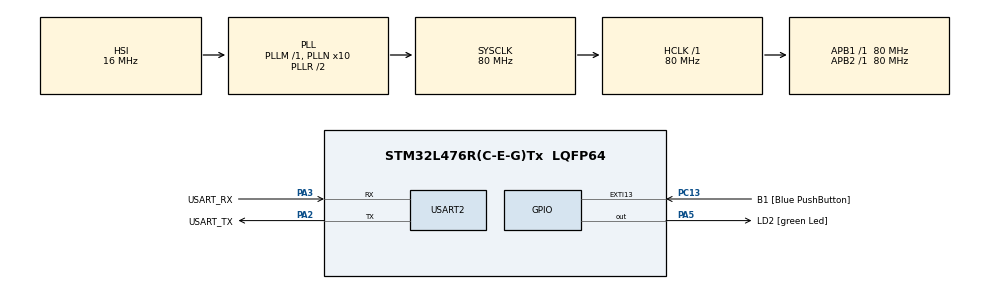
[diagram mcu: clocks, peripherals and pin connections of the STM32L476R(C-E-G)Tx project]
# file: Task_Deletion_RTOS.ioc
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FREERTOS.Tasks01=defaultTask,0,128,StartDefaultTask,Default,NULL,Dynamic,NULL,NULL
Mcu.Family=STM32L4
Mcu.Name=STM32L476R(C-E-G)Tx
Mcu.Package=LQFP64
NVIC.PriorityGroup=NVIC_PRIORITYGROUP_4
PA13\ (JTMS-SWDIO).GPIO_Label=TMS
PA13\ (JTMS-SWDIO).Mode=Serial_Wire
PA13\ (JTMS-SWDIO).Signal=SYS_JTMS-SWDIO
PA14\ (JTCK-SWCLK).GPIO_Label=TCK
PA14\ (JTCK-SWCLK).Mode=Serial_Wire
PA14\ (JTCK-SWCLK).Signal=SYS_JTCK-SWCLK
PA2.GPIO_Label=USART_TX
PA2.GPIO_Mode=GPIO_MODE_AF_PP
PA2.GPIO_PuPd=GPIO_NOPULL
PA2.GPIO_Speed=GPIO_SPEED_FREQ_VERY_HIGH
PA2.Mode=Asynchronous
PA2.Signal=USART2_TX
PA3.GPIO_Label=USART_RX
PA3.GPIO_Mode=GPIO_MODE_AF_PP
PA3.GPIO_PuPd=GPIO_NOPULL
PA3.GPIO_Speed=GPIO_SPEED_FREQ_VERY_HIGH
PA3.Mode=Asynchronous
PA3.Signal=USART2_RX
PA5.GPIO_Label=LD2 [green Led]
PA5.GPIO_ModeDefaultOutputPP=GPIO_MODE_OUTPUT_PP
PA5.GPIO_PuPd=GPIO_NOPULL
PA5.GPIO_Speed=GPIO_SPEED_FREQ_LOW
PA5.Signal=GPIO_Output
PB3\ (JTDO-TRACESWO).GPIO_Label=SWO
PB3\ (JTDO-TRACESWO).Signal=SYS_JTDO-SWO
PC13.GPIO_Label=B1 [Blue PushButton]
PC13.GPIO_ModeDefaultEXTI=GPIO_MODE_IT_FALLING
PC13.GPIO_PuPd=GPIO_NOPULL
PC13.Signal=GPXTI13
PC14-OSC32_IN\ (PC14).Mode=LSE-External-Oscillator
PC14-OSC32_IN\ (PC14).Signal=RCC_OSC32_IN
PC15-OSC32_OUT\ (PC15).Mode=LSE-External-Oscillator
PC15-OSC32_OUT\ (PC15).Signal=RCC_OSC32_OUT
PH0-OSC_IN\ (PH0).Signal=RCC_OSC_IN
PH1-OSC_OUT\ (PH1).Signal=RCC_OSC_OUT
ProjectManager.HeapSize=0x200
ProjectManager.StackSize=0x400
ProjectManager.TargetToolchain=STM32CubeIDE
RCC.ADCFreq_Value=64000000
RCC.AHBFreq_Value=80000000
RCC.APB1Freq_Value=80000000
RCC.APB1TimFreq_Value=80000000
RCC.APB2Freq_Value=80000000
RCC.APB2TimFreq_Value=80000000
RCC.CortexFreq_Value=80000000
RCC.HCLKFreq_Value=80000000
RCC.HSE_VALUE=8000000
RCC.HSI_VALUE=16000000
RCC.MSI_VALUE=4000000
RCC.PLLN=10
RCC.PLLSourceVirtual=RCC_PLLSOURCE_HSI
RCC.PREFETCH_ENABLE=1
RCC.SYSCLKFreq_VALUE=80000000
RCC.SYSCLKSource=RCC_SYSCLKSOURCE_PLLCLK
RCC.USBFreq_Value=64000000
RCC.VCOOutputFreq_Value=160000000
USART2.VirtualMode-Asynchronous=VM_ASYNC
VP_FREERTOS_VS_CMSIS_V1.Mode=CMSIS_V1
board=NUCLEO-L476RG

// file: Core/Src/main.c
/* USER CODE BEGIN Header */
/**
  ******************************************************************************
  * @file           : main.c
  * @brief          : Task Deletion FreeRTOS Demo
  ******************************************************************************
  */
/* USER CODE END Header */

#include "main.h"
#include "cmsis_os.h"

/* USER CODE BEGIN Includes */
#include <string.h>
#include <stdio.h>
/* USER CODE END Includes */

UART_HandleTypeDef huart2;

osThreadId defaultTaskHandle;

/* USER CODE BEGIN PV */
osThreadId tempTaskHandle;
osThreadId monitorTaskHandle;
osThreadId heartbeatTaskHandle;

uint8_t uart_buf[120];
uint8_t tempTaskDone    = 0;   // 0 = alive, 1 = deleted
uint8_t monitorTaskDone = 0;   // 0 = alive, 1 = deleted
/* USER CODE END PV */

void SystemClock_Config(void);
static void MX_GPIO_Init(void);
static void MX_USART2_UART_Init(void);
void StartDefaultTask(void const * argument);

/* USER CODE BEGIN PFP */
void TempTask(void const * argument);
void MonitorTask(void const * argument);
void HeartbeatTask(void const * argument);
/* USER CODE END PFP */

int main(void)
{

  HAL_Init();

  SystemClock_Config();

  MX_GPIO_Init();
  MX_USART2_UART_Init();

  /* Create the thread(s) */
  osThreadDef(defaultTask, StartDefaultTask, osPriorityNormal, 0, 128);
  defaultTaskHandle = osThreadCreate(osThread(defaultTask), NULL);

  /* USER CODE BEGIN RTOS_THREADS */
  osThreadDef(tempTask,      TempTask,      osPriorityNormal,      0, 128);
  osThreadDef(monitorTask,   MonitorTask,   osPriorityNormal,      0, 128);
  osThreadDef(heartbeatTask, HeartbeatTask, osPriorityBelowNormal, 0, 128);

  tempTaskHandle      = osThreadCreate(osThread(tempTask),      NULL);
  monitorTaskHandle   = osThreadCreate(osThread(monitorTask),   NULL);
  heartbeatTaskHandle = osThreadCreate(osThread(heartbeatTask), NULL);
  /* USER CODE END RTOS_THREADS */

  /* Start scheduler */
  osKernelStart();

  /* We should never get here */
  while (1)
  {
  }
}

/* USER CODE BEGIN 4 */

/* ------- TEMP TASK: runs 5 times then deletes itself ------- */
void TempTask(void const * argument)
{
  uint8_t i;
  for(i = 1; i <= 5; i++)
  {
    int len = snprintf((char*)uart_buf, sizeof(uart_buf),
              "[Temp Task]    Running... pass %d/5\r\n", i);
    HAL_UART_Transmit(&huart2, uart_buf, len, HAL_MAX_DELAY);
    osDelay(1000);
  }

  uint8_t msg[] = "[Temp Task]    Work done! Deleting self...\r\n";
  HAL_UART_Transmit(&huart2, msg, strlen((char*)msg), HAL_MAX_DELAY);
  osDelay(100);

  tempTaskDone = 1;        // set flag BEFORE deleting
  vTaskDelete(NULL);       // delete self
}

/* ------- MONITOR TASK: runs 3 times then deletes itself ------- */
void MonitorTask(void const * argument)
{
  uint8_t i;
  for(i = 1; i <= 3; i++)
  {
    int len = snprintf((char*)uart_buf, sizeof(uart_buf),
              "[Monitor Task] Checking system... pass %d/3\r\n", i);
    HAL_UART_Transmit(&huart2, uart_buf, len, HAL_MAX_DELAY);
    osDelay(1500);
  }

  uint8_t msg[] = "[Monitor Task] Monitoring complete! Deleting self...\r\n";
  HAL_UART_Transmit(&huart2, msg, strlen((char*)msg), HAL_MAX_DELAY);
  osDelay(100);

  monitorTaskDone = 1;     // set flag BEFORE deleting
  vTaskDelete(NULL);       // delete self
}

/* ------- HEARTBEAT TASK: runs forever, shows status of other tasks ------- */
void HeartbeatTask(void const * argument)
{
  uint32_t count = 0;
  for(;;)
  {
    count++;

    const char *tempStatus = (tempTaskDone    == 0) ? "ALIVE" : "DELETED";
    const char *monStatus  = (monitorTaskDone == 0) ? "ALIVE" : "DELETED";

    int len = snprintf((char*)uart_buf, sizeof(uart_buf),
              "[HB Task]      Tick #%lu | TempTask:%s | MonitorTask:%s\r\n",
              count, tempStatus, monStatus);

    HAL_UART_Transmit(&huart2, uart_buf, len, HAL_MAX_DELAY);
    osDelay(2000);
  }
}

/* USER CODE END 4 */

/* ------- DEFAULT TASK: idle ------- */
void StartDefaultTask(void const * argument)
{
  for(;;)
  {
    osDelay(1);
  }
}

void SystemClock_Config(void)
{
  RCC_OscInitTypeDef RCC_OscInitStruct = {0};
  RCC_ClkInitTypeDef RCC_ClkInitStruct = {0};

  if (HAL_PWREx_ControlVoltageScaling(PWR_REGULATOR_VOLTAGE_SCALE1) != HAL_OK)
    Error_Handler();

  RCC_OscInitStruct.OscillatorType      = RCC_OSCILLATORTYPE_HSI;
  RCC_OscInitStruct.HSIState            = RCC_HSI_ON;
  RCC_OscInitStruct.HSICalibrationValue = RCC_HSICALIBRATION_DEFAULT;
  RCC_OscInitStruct.PLL.PLLState        = RCC_PLL_ON;
  RCC_OscInitStruct.PLL.PLLSource       = RCC_PLLSOURCE_HSI;
  RCC_OscInitStruct.PLL.PLLM            = 1;
  RCC_OscInitStruct.PLL.PLLN            = 10;
  RCC_OscInitStruct.PLL.PLLP            = RCC_PLLP_DIV7;
  RCC_OscInitStruct.PLL.PLLQ            = RCC_PLLQ_DIV2;
  RCC_OscInitStruct.PLL.PLLR            = RCC_PLLR_DIV2;
  if (HAL_RCC_OscConfig(&RCC_OscInitStruct) != HAL_OK)
    Error_Handler();

  RCC_ClkInitStruct.ClockType      = RCC_CLOCKTYPE_HCLK | RCC_CLOCKTYPE_SYSCLK
                                   | RCC_CLOCKTYPE_PCLK1 | RCC_CLOCKTYPE_PCLK2;
  RCC_ClkInitStruct.SYSCLKSource   = RCC_SYSCLKSOURCE_PLLCLK;
  RCC_ClkInitStruct.AHBCLKDivider  = RCC_SYSCLK_DIV1;
  RCC_ClkInitStruct.APB1CLKDivider = RCC_HCLK_DIV1;
  RCC_ClkInitStruct.APB2CLKDivider = RCC_HCLK_DIV1;
  if (HAL_RCC_ClockConfig(&RCC_ClkInitStruct, FLASH_LATENCY_4) != HAL_OK)
    Error_Handler();
}

/**
  * @brief USART2 Initialization
  */
static void MX_USART2_UART_Init(void)
{
  huart2.Instance                    = USART2;
  huart2.Init.BaudRate               = 115200;
  huart2.Init.WordLength             = UART_WORDLENGTH_8B;
  huart2.Init.StopBits               = UART_STOPBITS_1;
  huart2.Init.Parity                 = UART_PARITY_NONE;
  huart2.Init.Mode                   = UART_MODE_TX_RX;
  huart2.Init.HwFlowCtl              = UART_HWCONTROL_NONE;
  huart2.Init.OverSampling           = UART_OVERSAMPLING_16;
  huart2.Init.OneBitSampling         = UART_ONE_BIT_SAMPLE_DISABLE;
  huart2.AdvancedInit.AdvFeatureInit = UART_ADVFEATURE_NO_INIT;
  if (HAL_UART_Init(&huart2) != HAL_OK)
    Error_Handler();
}

/**
  * @brief GPIO Initialization
  */
static void MX_GPIO_Init(void)
{
  GPIO_InitTypeDef GPIO_InitStruct = {0};

  __HAL_RCC_GPIOC_CLK_ENABLE();
  __HAL_RCC_GPIOH_CLK_ENABLE();
  __HAL_RCC_GPIOA_CLK_ENABLE();
  __HAL_RCC_GPIOB_CLK_ENABLE();

  HAL_GPIO_WritePin(LD2_GPIO_Port, LD2_Pin, GPIO_PIN_RESET);

  GPIO_InitStruct.Pin  = B1_Pin;
  GPIO_InitStruct.Mode = GPIO_MODE_IT_FALLING;
  GPIO_InitStruct.Pull = GPIO_NOPULL;
  HAL_GPIO_Init(B1_GPIO_Port, &GPIO_InitStruct);

  GPIO_InitStruct.Pin   = LD2_Pin;
  GPIO_InitStruct.Mode  = GPIO_MODE_OUTPUT_PP;
  GPIO_InitStruct.Pull  = GPIO_NOPULL;
  GPIO_InitStruct.Speed = GPIO_SPEED_FREQ_LOW;
  HAL_GPIO_Init(LD2_GPIO_Port, &GPIO_InitStruct);
}

/**
  * @brief Error Handler
  */
void Error_Handler(void)
{
  __disable_irq();
  while (1) {}
}
